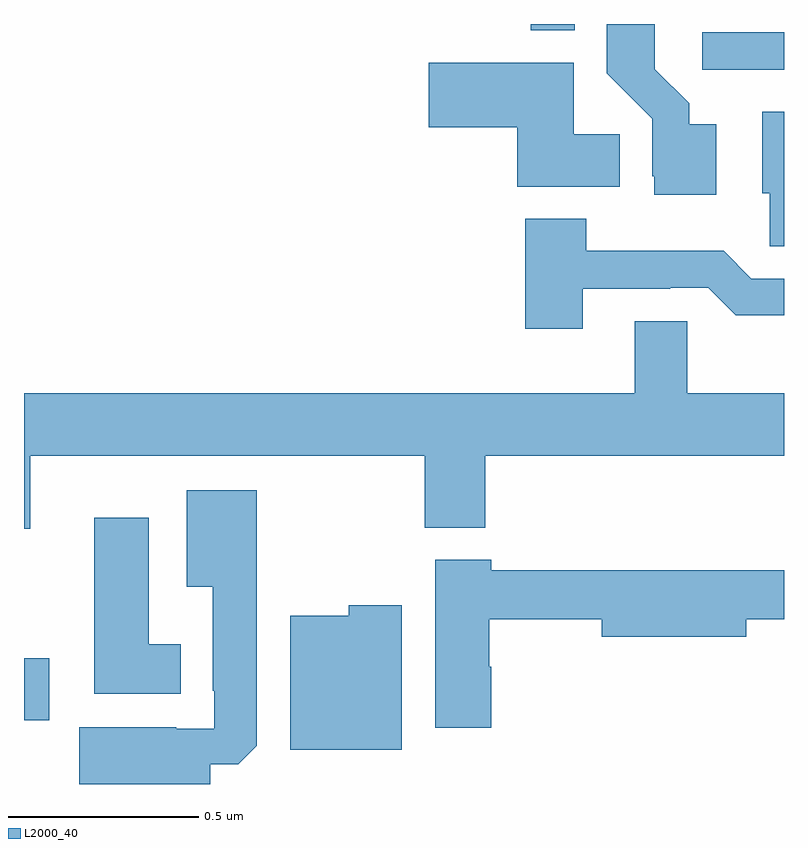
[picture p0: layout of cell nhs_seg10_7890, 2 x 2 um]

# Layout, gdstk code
import gdstk
lib = gdstk.Library(unit=1e-6, precision=1e-09)
def R(c, l, rs):  # rectangles x0, y0, x1, y1
    for r in rs: c.add(gdstk.rectangle(r[:2], r[2:], *l))
def P(c, l, *ps):  # polygons
    for p in ps: c.add(gdstk.Polygon(p, *l))
L2000_40 = (2000, 40)

nhs_seg10_7890 = lib.new_cell('nhs_seg10_7890')
R(nhs_seg10_7890, L2000_40, [(210,1251.668,210.067,1251.831), (211.785,1253.379,212,1253.478), (211.333,1253.483,211.449,1253.5)])
P(nhs_seg10_7890, L2000_40, [(211.822,1253.236),(211.75,1253.236),(211.75,1253.291),(211.66,1253.381),(211.66,1253.5),(211.534,1253.5),(211.534,1253.37),(211.653,1253.251),(211.653,1253.1),(211.658,1253.1),(211.658,1253.051),(211.822,1253.051)],
  [(211.568,1253.21),(211.447,1253.21),(211.447,1253.398),(211.065,1253.398),(211.065,1253.228),(211.298,1253.228),(211.298,1253.072),(211.568,1253.072)],
  [(212,1253.269),(211.943,1253.269),(211.943,1253.055),(211.962,1253.055),(211.962,1252.915),(212,1252.915)],
  [(211.471,1252.803),(211.7,1252.803),(211.7,1252.806),(211.8,1252.806),(211.873,1252.733),(212,1252.733),(212,1252.83),(211.914,1252.83),(211.841,1252.903),(211.479,1252.903),(211.479,1252.987),(211.319,1252.987),(211.319,1252.698),(211.471,1252.698)],
  [(210,1252.172),(210.016,1252.172),(210.016,1252.364),(211.054,1252.364),(211.054,1252.175),(211.214,1252.175),(211.214,1252.364),(212,1252.364),(212,1252.528),(211.746,1252.528),(211.746,1252.718),(211.607,1252.718),(211.607,1252.528),(210,1252.528)],
  [(210.49,1251.552),(210.564,1251.552),(210.613,1251.601),(210.613,1252.273),(210.428,1252.273),(210.428,1252.019),(210.497,1252.019),(210.497,1251.745),(210.501,1251.745),(210.501,1251.645),(210.401,1251.645),(210.401,1251.649),(210.146,1251.649),(210.146,1251.5),(210.49,1251.5)],
  [(210.412,1251.868),(210.328,1251.868),(210.328,1252.201),(210.185,1252.201),(210.185,1251.737),(210.412,1251.737)],
  [(211.229,1251.809),(211.224,1251.809),(211.224,1251.934),(211.52,1251.934),(211.52,1251.887),(211.9,1251.887),(211.9,1251.934),(212,1251.934),(212,1252.063),(211.229,1252.063),(211.229,1252.09),(211.082,1252.09),(211.082,1251.648),(211.229,1251.648)],
  [(210.994,1251.97),(210.855,1251.97),(210.855,1251.943),(210.701,1251.943),(210.701,1251.59),(210.994,1251.59)])

lib.write_gds('nhs_seg10_7890.gds')
